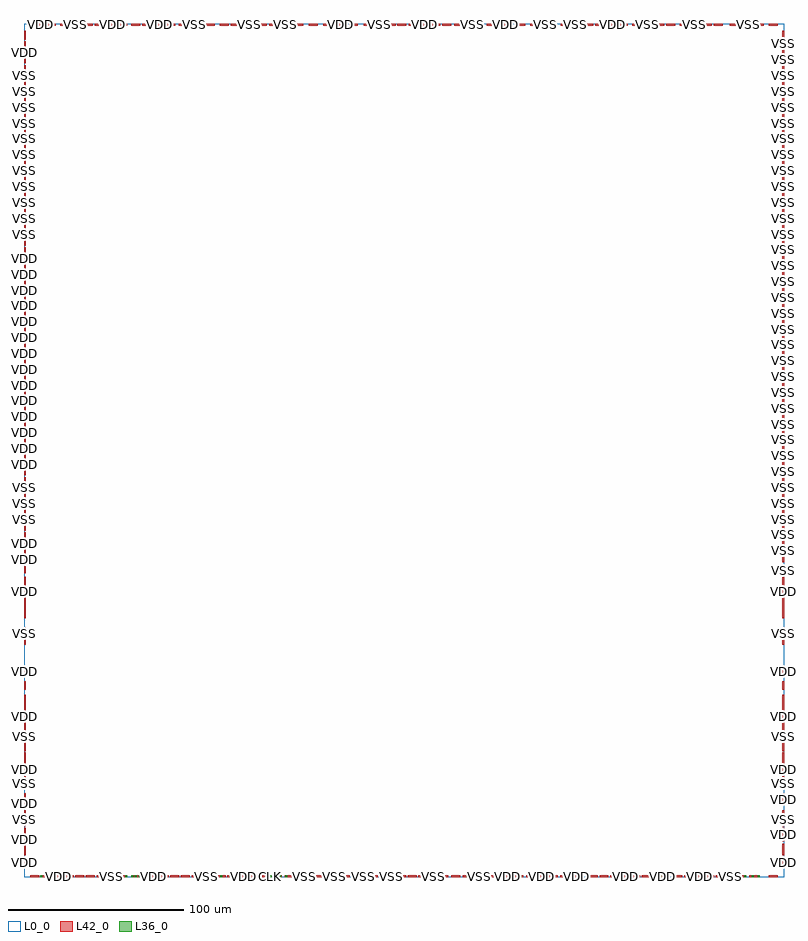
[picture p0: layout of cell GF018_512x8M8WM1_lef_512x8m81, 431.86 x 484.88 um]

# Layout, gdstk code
import gdstk
lib = gdstk.Library(unit=1e-6, precision=1e-09)
def R(c, l, rs):  # rectangles x0, y0, x1, y1
    for r in rs: c.add(gdstk.rectangle(r[:2], r[2:], *l))
def A(c, l, x, y, w, h, nx, ny, dx, dy):  # array of equal rectangles
    R(c, l, [(x+i*dx, y+j*dy, x+i*dx+w, y+j*dy+h) for i in range(nx) for j in range(ny)])
L0_0 = (0, 0)
L36_0 = (36, 0)
L42_0 = (42, 0)

gf018_512x8m8wm1_lef_512 = lib.new_cell('GF018_512x8M8WM1_lef_512x8m81')
R(gf018_512x8m8wm1_lef_512, L0_0, [(0,0,431.86,484.88)])
A(gf018_512x8m8wm1_lef_512, L42_0, 17.21, 0, 5, 1, 7, 1, 6, 0)
A(gf018_512x8m8wm1_lef_512, L42_0, 71.21, 0, 5, 1, 6, 1, 6, 0)
A(gf018_512x8m8wm1_lef_512, L42_0, 115.55, 0, 5, 1, 6, 1, 6.5, 0)
A(gf018_512x8m8wm1_lef_512, L42_0, 206.165, 0, 5, 1, 6, 1, 6, 0)
A(gf018_512x8m8wm1_lef_512, L42_0, 272.29, 0, 5, 1, 6, 1, 6.5, 0)
A(gf018_512x8m8wm1_lef_512, L42_0, 321.09, 0, 5, 1, 6, 1, 6, 0)
A(gf018_512x8m8wm1_lef_512, L42_0, 369.09, 0, 5, 1, 7, 1, 6, 0)
A(gf018_512x8m8wm1_lef_512, L42_0, 0, 178.88, 1, 3.5, 1, 66, 0, 4.5)
A(gf018_512x8m8wm1_lef_512, L42_0, 430.86, 178.88, 1, 3.5, 1, 66, 0, 4.5)
R(gf018_512x8m8wm1_lef_512, L42_0, [(3.53,0,8.53,1), (10.195,0,15.195,1), (62.215,0,67.215,1), (109.55,0,114.55,1), (156.62,0,161.62,1), (165.11,0,170.11,1), (174.155,0,179.155,1), (180.155,0,185.155,1), (190.14,0,195.14,1), (196.14,0,201.14,1), (242.83,0,247.83,1), (249.38,0,254.38,1), (256.165,0,261.165,1), (262.39,0,267.39,1), (311.475,0,316.475,1), (360.085,0,365.085,1), (412.095,0,417.095,1), (423.33,0,428.33,1), (0,6.16,1,11.16), (430.86,6.16,431.86,11.16), (0,12.51,1,18.86), (430.86,12.51,431.86,18.86), (0,20.3,1,28.145), (430.86,20.3,431.86,28.145), (0,28.83,1,37.98), (430.86,28.83,431.86,37.98), (0,40.76,1,47.575), (430.86,40.76,431.86,47.575), (0,50.88,1,57.465), (430.86,50.88,431.86,57.465), (0,60.18,1,70.89), (430.86,60.18,431.86,70.89), (0,71.64,1,88.65), (430.86,71.64,431.86,88.65), (0,90.08,1,103.695), (430.86,90.08,431.86,103.695), (0,106.41,1,111.41), (430.86,106.41,431.86,111.41), (0,114.69,1,119.69), (430.86,114.69,431.86,119.69), (0,132.175,1,142.08), (430.86,132.175,431.86,142.08), (0,147.15,1,170.625), (430.86,147.15,431.86,170.625), (0,172.68,1,176.63), (430.86,172.68,431.86,176.63), (0,475.88,1,480.88), (430.86,475.88,431.86,480.88), (7.005,483.88,12.005,484.88), (13.13,483.88,18.13,484.88), (20.685,483.88,25.685,484.88), (26.81,483.88,31.81,484.88), (34.005,483.88,39.005,484.88), (40.13,483.88,45.13,484.88), (47.685,483.88,52.685,484.88), (53.81,483.88,58.81,484.88), (61.005,483.88,66.005,484.88), (67.13,483.88,72.13,484.88), (74.685,483.88,79.685,484.88), (80.81,483.88,85.81,484.88), (88.005,483.88,93.005,484.88), (94.13,483.88,99.13,484.88), (103.265,483.88,108.265,484.88), (111.29,483.88,116.29,484.88), (117.415,483.88,122.415,484.88), (125.79,483.88,130.79,484.88), (132.86,483.88,137.86,484.88), (139.385,483.88,144.385,484.88), (146.365,483.88,151.365,484.88), (153.55,483.88,158.55,484.88), (161.905,483.88,166.905,484.88), (170.12,483.88,175.12,484.88), (177.075,483.88,182.075,484.88), (184.74,483.88,189.74,484.88), (192.925,483.88,197.925,484.88), (199.41,483.88,204.41,484.88), (206.15,483.88,211.15,484.88), (212.15,483.88,217.15,484.88), (218.565,483.88,223.565,484.88), (225.345,483.88,230.345,484.88), (231.565,483.88,236.565,484.88), (237.69,483.88,242.69,484.88), (244.505,483.88,249.505,484.88), (252.325,483.88,257.325,484.88), (262.845,483.88,267.845,484.88), (271.31,483.88,276.31,484.88), (279.95,483.88,284.95,484.88), (287.735,483.88,292.735,484.88), (293.955,483.88,298.955,484.88), (304.885,483.88,309.885,484.88), (311.01,483.88,316.01,484.88), (318.565,483.88,323.565,484.88), (324.69,483.88,329.69,484.88), (331.885,483.88,336.885,484.88), (338.01,483.88,343.01,484.88), (345.565,483.88,350.565,484.88), (351.69,483.88,356.69,484.88), (358.885,483.88,363.885,484.88), (365.01,483.88,370.01,484.88), (372.565,483.88,377.565,484.88), (378.69,483.88,383.69,484.88), (385.885,483.88,390.885,484.88), (392.01,483.88,397.01,484.88), (401.145,483.88,406.145,484.88), (409.17,483.88,414.17,484.88), (415.295,483.88,420.295,484.88), (423.33,483.88,428.33,484.88)])
gf018_512x8m8wm1_lef_512.add(gdstk.FlexPath([(67.83,0),(67.83,1)], 1.12, ends="flush", simple_path=True, layer=36, datatype=0))  # L36_0
gf018_512x8m8wm1_lef_512.add(gdstk.FlexPath([(65.83,0),(65.83,1)], 1.12, ends="flush", simple_path=True, layer=36, datatype=0))  # L36_0
gf018_512x8m8wm1_lef_512.add(gdstk.FlexPath([(154.855,0),(154.855,1)], 1.12, ends="flush", simple_path=True, layer=36, datatype=0))  # L36_0
gf018_512x8m8wm1_lef_512.add(gdstk.FlexPath([(163.32,0),(163.32,1)], 1.12, ends="flush", simple_path=True, layer=36, datatype=0))  # L36_0
gf018_512x8m8wm1_lef_512.add(gdstk.FlexPath([(269.42,0),(269.42,1)], 1.12, ends="flush", simple_path=True, layer=36, datatype=0))  # L36_0
gf018_512x8m8wm1_lef_512.add(gdstk.FlexPath([(171.775,0),(171.775,1)], 1.12, ends="flush", simple_path=True, layer=36, datatype=0))  # L36_0
gf018_512x8m8wm1_lef_512.add(gdstk.FlexPath([(203.5,0),(203.5,1)], 1.12, ends="flush", simple_path=True, layer=36, datatype=0))  # L36_0
gf018_512x8m8wm1_lef_512.add(gdstk.FlexPath([(252.27,0),(252.27,1)], 1.12, ends="flush", simple_path=True, layer=36, datatype=0))  # L36_0
gf018_512x8m8wm1_lef_512.add(gdstk.FlexPath([(272.645,0),(272.645,1)], 1.12, ends="flush", simple_path=True, layer=36, datatype=0))  # L36_0
gf018_512x8m8wm1_lef_512.add(gdstk.FlexPath([(276.38,0),(276.38,1)], 1.12, ends="flush", simple_path=True, layer=36, datatype=0))  # L36_0
gf018_512x8m8wm1_lef_512.add(gdstk.FlexPath([(281.885,0),(281.885,1)], 1.12, ends="flush", simple_path=True, layer=36, datatype=0))  # L36_0
gf018_512x8m8wm1_lef_512.add(gdstk.FlexPath([(307.795,0),(307.795,1)], 1.12, ends="flush", simple_path=True, layer=36, datatype=0))  # L36_0
gf018_512x8m8wm1_lef_512.add(gdstk.FlexPath([(311.135,0),(311.135,1)], 1.12, ends="flush", simple_path=True, layer=36, datatype=0))  # L36_0
gf018_512x8m8wm1_lef_512.add(gdstk.FlexPath([(315.35,0),(315.35,1)], 1.12, ends="flush", simple_path=True, layer=36, datatype=0))  # L36_0
gf018_512x8m8wm1_lef_512.add(gdstk.FlexPath([(356.105,0),(356.105,1)], 1.12, ends="flush", simple_path=True, layer=36, datatype=0))  # L36_0
gf018_512x8m8wm1_lef_512.add(gdstk.FlexPath([(359.47,0),(359.47,1)], 1.12, ends="flush", simple_path=True, layer=36, datatype=0))  # L36_0
gf018_512x8m8wm1_lef_512.add(gdstk.FlexPath([(361.46,0),(361.46,1)], 1.12, ends="flush", simple_path=True, layer=36, datatype=0))  # L36_0
gf018_512x8m8wm1_lef_512.add(gdstk.FlexPath([(363.71,0),(363.71,1)], 1.12, ends="flush", simple_path=True, layer=36, datatype=0))  # L36_0
gf018_512x8m8wm1_lef_512.add(gdstk.FlexPath([(365.71,0),(365.71,1)], 1.12, ends="flush", simple_path=True, layer=36, datatype=0))  # L36_0
gf018_512x8m8wm1_lef_512.add(gdstk.FlexPath([(369.075,0),(369.075,1)], 1.12, ends="flush", simple_path=True, layer=36, datatype=0))  # L36_0
gf018_512x8m8wm1_lef_512.add(gdstk.FlexPath([(409.835,0),(409.835,1)], 1.12, ends="flush", simple_path=True, layer=36, datatype=0))  # L36_0
gf018_512x8m8wm1_lef_512.add(gdstk.FlexPath([(414.035,0),(414.035,1)], 1.12, ends="flush", simple_path=True, layer=36, datatype=0))  # L36_0
gf018_512x8m8wm1_lef_512.add(gdstk.FlexPath([(71.195,0),(71.195,1)], 1.12, ends="flush", simple_path=True, layer=36, datatype=0))  # L36_0
gf018_512x8m8wm1_lef_512.add(gdstk.FlexPath([(111.955,0),(111.955,1)], 1.12, ends="flush", simple_path=True, layer=36, datatype=0))  # L36_0
gf018_512x8m8wm1_lef_512.add(gdstk.FlexPath([(117.58,0),(117.58,1)], 1.12, ends="flush", simple_path=True, layer=36, datatype=0))  # L36_0
gf018_512x8m8wm1_lef_512.add(gdstk.FlexPath([(119.535,0),(119.535,1)], 1.12, ends="flush", simple_path=True, layer=36, datatype=0))  # L36_0
gf018_512x8m8wm1_lef_512.add(gdstk.FlexPath([(140.24,0),(140.24,1)], 1.12, ends="flush", simple_path=True, layer=36, datatype=0))  # L36_0
gf018_512x8m8wm1_lef_512.add(gdstk.FlexPath([(145.59,0),(145.59,1)], 1.12, ends="flush", simple_path=True, layer=36, datatype=0))  # L36_0
gf018_512x8m8wm1_lef_512.add(gdstk.FlexPath([(149.085,0),(149.085,1)], 1.12, ends="flush", simple_path=True, layer=36, datatype=0))  # L36_0
gf018_512x8m8wm1_lef_512.add(gdstk.FlexPath([(417.42,0),(417.42,1)], 1.12, ends="flush", simple_path=True, layer=36, datatype=0))  # L36_0
gf018_512x8m8wm1_lef_512.add(gdstk.FlexPath([(9.88,0),(9.88,1)], 1.12, ends="flush", simple_path=True, layer=36, datatype=0))  # L36_0
gf018_512x8m8wm1_lef_512.add(gdstk.FlexPath([(13.255,0),(13.255,1)], 1.12, ends="flush", simple_path=True, layer=36, datatype=0))  # L36_0
gf018_512x8m8wm1_lef_512.add(gdstk.FlexPath([(17.46,0),(17.46,1)], 1.12, ends="flush", simple_path=True, layer=36, datatype=0))  # L36_0
gf018_512x8m8wm1_lef_512.add(gdstk.FlexPath([(58.225,0),(58.225,1)], 1.12, ends="flush", simple_path=True, layer=36, datatype=0))  # L36_0
gf018_512x8m8wm1_lef_512.add(gdstk.FlexPath([(61.59,0),(61.59,1)], 1.12, ends="flush", simple_path=True, layer=36, datatype=0))  # L36_0
gf018_512x8m8wm1_lef_512.add(gdstk.FlexPath([(63.58,0),(63.58,1)], 1.12, ends="flush", simple_path=True, layer=36, datatype=0))  # L36_0
gf018_512x8m8wm1_lef_512.add(gdstk.Label('VSS', (431.4,473.45), layer=42, texttype=10))
gf018_512x8m8wm1_lef_512.add(gdstk.Label('VDD', (431.4,468.63), layer=42, texttype=10))
gf018_512x8m8wm1_lef_512.add(gdstk.Label('VSS', (431.4,464.45), layer=42, texttype=10))
gf018_512x8m8wm1_lef_512.add(gdstk.Label('VDD', (431.4,459.63), layer=42, texttype=10))
gf018_512x8m8wm1_lef_512.add(gdstk.Label('VSS', (431.4,455.45), layer=42, texttype=10))
gf018_512x8m8wm1_lef_512.add(gdstk.Label('VDD', (431.4,450.63), layer=42, texttype=10))
gf018_512x8m8wm1_lef_512.add(gdstk.Label('VSS', (431.4,446.45), layer=42, texttype=10))
gf018_512x8m8wm1_lef_512.add(gdstk.Label('VDD', (431.4,441.63), layer=42, texttype=10))
gf018_512x8m8wm1_lef_512.add(gdstk.Label('VSS', (431.4,437.45), layer=42, texttype=10))
gf018_512x8m8wm1_lef_512.add(gdstk.Label('VDD', (431.4,432.63), layer=42, texttype=10))
gf018_512x8m8wm1_lef_512.add(gdstk.Label('VSS', (431.4,428.45), layer=42, texttype=10))
gf018_512x8m8wm1_lef_512.add(gdstk.Label('VDD', (431.4,423.63), layer=42, texttype=10))
gf018_512x8m8wm1_lef_512.add(gdstk.Label('VSS', (431.4,419.45), layer=42, texttype=10))
gf018_512x8m8wm1_lef_512.add(gdstk.Label('VDD', (431.4,414.63), layer=42, texttype=10))
gf018_512x8m8wm1_lef_512.add(gdstk.Label('VSS', (431.4,410.45), layer=42, texttype=10))
gf018_512x8m8wm1_lef_512.add(gdstk.Label('VDD', (431.4,405.63), layer=42, texttype=10))
gf018_512x8m8wm1_lef_512.add(gdstk.Label('VSS', (431.4,401.45), layer=42, texttype=10))
gf018_512x8m8wm1_lef_512.add(gdstk.Label('VDD', (431.4,396.63), layer=42, texttype=10))
gf018_512x8m8wm1_lef_512.add(gdstk.Label('VSS', (354.19,484.415), layer=42, texttype=10))
gf018_512x8m8wm1_lef_512.add(gdstk.Label('VSS', (431.4,392.45), layer=42, texttype=10))
gf018_512x8m8wm1_lef_512.add(gdstk.Label('VDD', (431.4,387.63), layer=42, texttype=10))
gf018_512x8m8wm1_lef_512.add(gdstk.Label('VSS', (431.4,383.45), layer=42, texttype=10))
gf018_512x8m8wm1_lef_512.add(gdstk.Label('VDD', (431.4,378.63), layer=42, texttype=10))
gf018_512x8m8wm1_lef_512.add(gdstk.Label('VSS', (431.4,374.45), layer=42, texttype=10))
gf018_512x8m8wm1_lef_512.add(gdstk.Label('VDD', (431.4,369.63), layer=42, texttype=10))
gf018_512x8m8wm1_lef_512.add(gdstk.Label('VSS', (313.51,484.415), layer=42, texttype=10))
gf018_512x8m8wm1_lef_512.add(gdstk.Label('VSS', (411.67,484.415), layer=42, texttype=10))
gf018_512x8m8wm1_lef_512.add(gdstk.Label('VSS', (431.4,365.45), layer=42, texttype=10))
gf018_512x8m8wm1_lef_512.add(gdstk.Label('VDD', (431.4,360.63), layer=42, texttype=10))
gf018_512x8m8wm1_lef_512.add(gdstk.Label('VSS', (381.19,484.415), layer=42, texttype=10))
gf018_512x8m8wm1_lef_512.add(gdstk.Label('VSS', (296.455,484.415), layer=42, texttype=10))
gf018_512x8m8wm1_lef_512.add(gdstk.Label('VDD', (227.845,484.415), layer=42, texttype=10))
gf018_512x8m8wm1_lef_512.add(gdstk.Label('VDD', (234.065,484.415), layer=42, texttype=10))
gf018_512x8m8wm1_lef_512.add(gdstk.Label('VSS', (221.065,484.415), layer=42, texttype=10))
gf018_512x8m8wm1_lef_512.add(gdstk.Label('VSS', (254.825,484.415), layer=42, texttype=10))
gf018_512x8m8wm1_lef_512.add(gdstk.Label('VDD', (417.795,484.415), layer=42, texttype=10))
gf018_512x8m8wm1_lef_512.add(gdstk.Label('VDD', (388.385,484.415), layer=42, texttype=10))
gf018_512x8m8wm1_lef_512.add(gdstk.Label('VDD', (348.065,484.415), layer=42, texttype=10))
gf018_512x8m8wm1_lef_512.add(gdstk.Label('VDD', (307.385,484.415), layer=42, texttype=10))
gf018_512x8m8wm1_lef_512.add(gdstk.Label('VDD', (403.645,484.415), layer=42, texttype=10))
gf018_512x8m8wm1_lef_512.add(gdstk.Label('VSS', (431.4,356.45), layer=42, texttype=10))
gf018_512x8m8wm1_lef_512.add(gdstk.Label('VDD', (290.235,484.415), layer=42, texttype=10))
gf018_512x8m8wm1_lef_512.add(gdstk.Label('VSS', (240.19,484.415), layer=42, texttype=10))
gf018_512x8m8wm1_lef_512.add(gdstk.Label('VDD', (265.345,484.415), layer=42, texttype=10))
gf018_512x8m8wm1_lef_512.add(gdstk.Label('VDD', (431.4,351.63), layer=42, texttype=10))
gf018_512x8m8wm1_lef_512.add(gdstk.Label('VSS', (431.4,347.45), layer=42, texttype=10))
gf018_512x8m8wm1_lef_512.add(gdstk.Label('VDD', (431.4,342.63), layer=42, texttype=10))
gf018_512x8m8wm1_lef_512.add(gdstk.Label('VSS', (431.4,338.45), layer=42, texttype=10))
gf018_512x8m8wm1_lef_512.add(gdstk.Label('VDD', (431.4,333.63), layer=42, texttype=10))
gf018_512x8m8wm1_lef_512.add(gdstk.Label('VSS', (431.4,329.45), layer=42, texttype=10))
gf018_512x8m8wm1_lef_512.add(gdstk.Label('VSS', (282.45,484.415), layer=42, texttype=10))
gf018_512x8m8wm1_lef_512.add(gdstk.Label('VDD', (431.4,478.38), layer=42, texttype=10))
gf018_512x8m8wm1_lef_512.add(gdstk.Label('VDD', (273.81,484.415), layer=42, texttype=10))
gf018_512x8m8wm1_lef_512.add(gdstk.Label('VDD', (247.005,484.415), layer=42, texttype=10))
gf018_512x8m8wm1_lef_512.add(gdstk.Label('VDD', (375.065,484.415), layer=42, texttype=10))
gf018_512x8m8wm1_lef_512.add(gdstk.Label('VDD', (431.4,324.63), layer=42, texttype=10))
gf018_512x8m8wm1_lef_512.add(gdstk.Label('VDD', (321.065,484.415), layer=42, texttype=10))
gf018_512x8m8wm1_lef_512.add(gdstk.Label('VDD', (361.385,484.415), layer=42, texttype=10))
gf018_512x8m8wm1_lef_512.add(gdstk.Label('VDD', (425.83,484.415), layer=42, texttype=10))
gf018_512x8m8wm1_lef_512.add(gdstk.Label('VSS', (340.51,484.415), layer=42, texttype=10))
gf018_512x8m8wm1_lef_512.add(gdstk.Label('VSS', (367.51,484.415), layer=42, texttype=10))
gf018_512x8m8wm1_lef_512.add(gdstk.Label('VSS', (327.19,484.415), layer=42, texttype=10))
gf018_512x8m8wm1_lef_512.add(gdstk.Label('VSS', (394.51,484.415), layer=42, texttype=10))
gf018_512x8m8wm1_lef_512.add(gdstk.Label('VSS', (431.4,320.45), layer=42, texttype=10))
gf018_512x8m8wm1_lef_512.add(gdstk.Label('VDD', (431.4,315.63), layer=42, texttype=10))
gf018_512x8m8wm1_lef_512.add(gdstk.Label('VSS', (431.4,311.45), layer=42, texttype=10))
gf018_512x8m8wm1_lef_512.add(gdstk.Label('VDD', (431.4,306.63), layer=42, texttype=10))
gf018_512x8m8wm1_lef_512.add(gdstk.Label('VSS', (431.4,302.45), layer=42, texttype=10))
gf018_512x8m8wm1_lef_512.add(gdstk.Label('VDD', (431.4,297.63), layer=42, texttype=10))
gf018_512x8m8wm1_lef_512.add(gdstk.Label('VSS', (431.4,293.45), layer=42, texttype=10))
gf018_512x8m8wm1_lef_512.add(gdstk.Label('VDD', (431.4,288.63), layer=42, texttype=10))
gf018_512x8m8wm1_lef_512.add(gdstk.Label('VSS', (431.4,284.45), layer=42, texttype=10))
gf018_512x8m8wm1_lef_512.add(gdstk.Label('VDD', (431.4,279.63), layer=42, texttype=10))
gf018_512x8m8wm1_lef_512.add(gdstk.Label('VSS', (431.4,275.45), layer=42, texttype=10))
gf018_512x8m8wm1_lef_512.add(gdstk.Label('VDD', (431.4,270.63), layer=42, texttype=10))
gf018_512x8m8wm1_lef_512.add(gdstk.Label('VSS', (431.4,266.45), layer=42, texttype=10))
gf018_512x8m8wm1_lef_512.add(gdstk.Label('VDD', (431.4,261.63), layer=42, texttype=10))
gf018_512x8m8wm1_lef_512.add(gdstk.Label('VSS', (431.4,257.45), layer=42, texttype=10))
gf018_512x8m8wm1_lef_512.add(gdstk.Label('VDD', (431.4,252.63), layer=42, texttype=10))
gf018_512x8m8wm1_lef_512.add(gdstk.Label('VSS', (431.4,248.45), layer=42, texttype=10))
gf018_512x8m8wm1_lef_512.add(gdstk.Label('VDD', (431.4,243.63), layer=42, texttype=10))
gf018_512x8m8wm1_lef_512.add(gdstk.Label('VDD', (334.385,484.415), layer=42, texttype=10))
gf018_512x8m8wm1_lef_512.add(gdstk.Label('VDD', (179.575,484.415), layer=42, texttype=10))
gf018_512x8m8wm1_lef_512.add(gdstk.Label('VSS', (128.29,484.415), layer=42, texttype=10))
gf018_512x8m8wm1_lef_512.add(gdstk.Label('VSS', (0.5,383.45), layer=42, texttype=10))
gf018_512x8m8wm1_lef_512.add(gdstk.Label('VDD', (119.915,484.415), layer=42, texttype=10))
gf018_512x8m8wm1_lef_512.add(gdstk.Label('VSS', (201.91,484.415), layer=42, texttype=10))
gf018_512x8m8wm1_lef_512.add(gdstk.Label('VSS', (187.24,484.415), layer=42, texttype=10))
gf018_512x8m8wm1_lef_512.add(gdstk.Label('VDD', (50.185,484.415), layer=42, texttype=10))
gf018_512x8m8wm1_lef_512.add(gdstk.Label('VSS', (113.79,484.415), layer=42, texttype=10))
gf018_512x8m8wm1_lef_512.add(gdstk.Label('VDD', (9.505,484.415), layer=42, texttype=10))
gf018_512x8m8wm1_lef_512.add(gdstk.Label('VDD', (0.5,351.63), layer=42, texttype=10))
gf018_512x8m8wm1_lef_512.add(gdstk.Label('VDD', (77.185,484.415), layer=42, texttype=10))
gf018_512x8m8wm1_lef_512.add(gdstk.Label('VSS', (0.5,347.45), layer=42, texttype=10))
gf018_512x8m8wm1_lef_512.add(gdstk.Label('VDD', (0.5,378.63), layer=42, texttype=10))
gf018_512x8m8wm1_lef_512.add(gdstk.Label('VDD', (0.5,342.63), layer=42, texttype=10))
gf018_512x8m8wm1_lef_512.add(gdstk.Label('VSS', (0.5,428.45), layer=42, texttype=10))
gf018_512x8m8wm1_lef_512.add(gdstk.Label('VSS', (0.5,338.45), layer=42, texttype=10))
gf018_512x8m8wm1_lef_512.add(gdstk.Label('VSS', (0.5,374.45), layer=42, texttype=10))
gf018_512x8m8wm1_lef_512.add(gdstk.Label('VDD', (0.5,333.63), layer=42, texttype=10))
gf018_512x8m8wm1_lef_512.add(gdstk.Label('VSS', (0.5,455.45), layer=42, texttype=10))
gf018_512x8m8wm1_lef_512.add(gdstk.Label('VSS', (29.31,484.415), layer=42, texttype=10))
gf018_512x8m8wm1_lef_512.add(gdstk.Label('VSS', (83.31,484.415), layer=42, texttype=10))
gf018_512x8m8wm1_lef_512.add(gdstk.Label('VSS', (148.865,484.415), layer=42, texttype=10))
gf018_512x8m8wm1_lef_512.add(gdstk.Label('VDD', (0.5,369.63), layer=42, texttype=10))
gf018_512x8m8wm1_lef_512.add(gdstk.Label('VDD', (0.5,423.63), layer=42, texttype=10))
gf018_512x8m8wm1_lef_512.add(gdstk.Label('VSS', (0.5,329.45), layer=42, texttype=10))
gf018_512x8m8wm1_lef_512.add(gdstk.Label('VSS', (15.63,484.415), layer=42, texttype=10))
gf018_512x8m8wm1_lef_512.add(gdstk.Label('VSS', (69.63,484.415), layer=42, texttype=10))
gf018_512x8m8wm1_lef_512.add(gdstk.Label('VDD', (0.5,468.63), layer=42, texttype=10))
gf018_512x8m8wm1_lef_512.add(gdstk.Label('VSS', (0.5,419.45), layer=42, texttype=10))
gf018_512x8m8wm1_lef_512.add(gdstk.Label('VSS', (214.65,484.415), layer=42, texttype=10))
gf018_512x8m8wm1_lef_512.add(gdstk.Label('VSS', (172.62,484.415), layer=42, texttype=10))
gf018_512x8m8wm1_lef_512.add(gdstk.Label('VSS', (0.5,365.45), layer=42, texttype=10))
gf018_512x8m8wm1_lef_512.add(gdstk.Label('VDD', (0.5,450.63), layer=42, texttype=10))
gf018_512x8m8wm1_lef_512.add(gdstk.Label('VDD', (0.5,360.63), layer=42, texttype=10))
gf018_512x8m8wm1_lef_512.add(gdstk.Label('VDD', (0.5,414.63), layer=42, texttype=10))
gf018_512x8m8wm1_lef_512.add(gdstk.Label('VDD', (23.185,484.415), layer=42, texttype=10))
gf018_512x8m8wm1_lef_512.add(gdstk.Label('VDD', (0.5,324.63), layer=42, texttype=10))
gf018_512x8m8wm1_lef_512.add(gdstk.Label('VSS', (42.63,484.415), layer=42, texttype=10))
gf018_512x8m8wm1_lef_512.add(gdstk.Label('VDD', (63.505,484.415), layer=42, texttype=10))
gf018_512x8m8wm1_lef_512.add(gdstk.Label('VSS', (96.63,484.415), layer=42, texttype=10))
gf018_512x8m8wm1_lef_512.add(gdstk.Label('VSS', (141.885,484.415), layer=42, texttype=10))
gf018_512x8m8wm1_lef_512.add(gdstk.Label('VSS', (0.5,410.45), layer=42, texttype=10))
gf018_512x8m8wm1_lef_512.add(gdstk.Label('VSS', (0.5,320.45), layer=42, texttype=10))
gf018_512x8m8wm1_lef_512.add(gdstk.Label('VSS', (56.31,484.415), layer=42, texttype=10))
gf018_512x8m8wm1_lef_512.add(gdstk.Label('VDD', (0.5,315.63), layer=42, texttype=10))
gf018_512x8m8wm1_lef_512.add(gdstk.Label('VDD', (195.425,484.415), layer=42, texttype=10))
gf018_512x8m8wm1_lef_512.add(gdstk.Label('VSS', (0.5,311.45), layer=42, texttype=10))
gf018_512x8m8wm1_lef_512.add(gdstk.Label('VSS', (0.5,446.45), layer=42, texttype=10))
gf018_512x8m8wm1_lef_512.add(gdstk.Label('VDD', (0.5,306.63), layer=42, texttype=10))
gf018_512x8m8wm1_lef_512.add(gdstk.Label('VDD', (156.05,484.415), layer=42, texttype=10))
gf018_512x8m8wm1_lef_512.add(gdstk.Label('VSS', (0.5,302.45), layer=42, texttype=10))
gf018_512x8m8wm1_lef_512.add(gdstk.Label('VDD', (0.5,405.63), layer=42, texttype=10))
gf018_512x8m8wm1_lef_512.add(gdstk.Label('VDD', (0.5,297.63), layer=42, texttype=10))
gf018_512x8m8wm1_lef_512.add(gdstk.Label('VSS', (164.405,484.415), layer=42, texttype=10))
gf018_512x8m8wm1_lef_512.add(gdstk.Label('VSS', (0.5,293.45), layer=42, texttype=10))
gf018_512x8m8wm1_lef_512.add(gdstk.Label('VSS', (0.5,464.45), layer=42, texttype=10))
gf018_512x8m8wm1_lef_512.add(gdstk.Label('VDD', (0.5,288.63), layer=42, texttype=10))
gf018_512x8m8wm1_lef_512.add(gdstk.Label('VSS', (0.5,401.45), layer=42, texttype=10))
gf018_512x8m8wm1_lef_512.add(gdstk.Label('VSS', (0.5,284.45), layer=42, texttype=10))
gf018_512x8m8wm1_lef_512.add(gdstk.Label('VDD', (0.5,441.63), layer=42, texttype=10))
gf018_512x8m8wm1_lef_512.add(gdstk.Label('VDD', (0.5,279.63), layer=42, texttype=10))
gf018_512x8m8wm1_lef_512.add(gdstk.Label('VDD', (0.5,396.63), layer=42, texttype=10))
gf018_512x8m8wm1_lef_512.add(gdstk.Label('VSS', (0.5,275.45), layer=42, texttype=10))
gf018_512x8m8wm1_lef_512.add(gdstk.Label('VSS', (0.5,473.45), layer=42, texttype=10))
gf018_512x8m8wm1_lef_512.add(gdstk.Label('VDD', (0.5,270.63), layer=42, texttype=10))
gf018_512x8m8wm1_lef_512.add(gdstk.Label('VSS', (0.5,437.45), layer=42, texttype=10))
gf018_512x8m8wm1_lef_512.add(gdstk.Label('VSS', (0.5,266.45), layer=42, texttype=10))
gf018_512x8m8wm1_lef_512.add(gdstk.Label('VSS', (0.5,392.45), layer=42, texttype=10))
gf018_512x8m8wm1_lef_512.add(gdstk.Label('VDD', (0.5,261.63), layer=42, texttype=10))
gf018_512x8m8wm1_lef_512.add(gdstk.Label('VDD', (0.5,459.63), layer=42, texttype=10))
gf018_512x8m8wm1_lef_512.add(gdstk.Label('VSS', (0.5,257.45), layer=42, texttype=10))
gf018_512x8m8wm1_lef_512.add(gdstk.Label('VSS', (0.5,356.45), layer=42, texttype=10))
gf018_512x8m8wm1_lef_512.add(gdstk.Label('VDD', (0.5,252.63), layer=42, texttype=10))
gf018_512x8m8wm1_lef_512.add(gdstk.Label('VDD', (0.5,387.63), layer=42, texttype=10))
gf018_512x8m8wm1_lef_512.add(gdstk.Label('VSS', (0.5,248.45), layer=42, texttype=10))
gf018_512x8m8wm1_lef_512.add(gdstk.Label('VDD', (0.5,432.63), layer=42, texttype=10))
gf018_512x8m8wm1_lef_512.add(gdstk.Label('VDD', (0.5,243.63), layer=42, texttype=10))
gf018_512x8m8wm1_lef_512.add(gdstk.Label('VDD', (0.5,478.38), layer=42, texttype=10))
gf018_512x8m8wm1_lef_512.add(gdstk.Label('VDD', (90.505,484.415), layer=42, texttype=10))
gf018_512x8m8wm1_lef_512.add(gdstk.Label('VDD', (105.765,484.415), layer=42, texttype=10))
gf018_512x8m8wm1_lef_512.add(gdstk.Label('VDD', (135.36,484.415), layer=42, texttype=10))
gf018_512x8m8wm1_lef_512.add(gdstk.Label('VDD', (36.505,484.415), layer=42, texttype=10))
gf018_512x8m8wm1_lef_512.add(gdstk.Label('VDD', (208.65,484.415), layer=42, texttype=10))
gf018_512x8m8wm1_lef_512.add(gdstk.Label('VDD', (19.71,0.5), layer=42, texttype=10))
gf018_512x8m8wm1_lef_512.add(gdstk.Label('VSS', (0.5,80.175), layer=42, texttype=10))
gf018_512x8m8wm1_lef_512.add(gdstk.Label('VDD', (0.5,41.775), layer=42, texttype=10))
gf018_512x8m8wm1_lef_512.add(gdstk.Label('VSS', (0.5,32.985), layer=42, texttype=10))
gf018_512x8m8wm1_lef_512.add(gdstk.Label('VSS', (0.5,239.45), layer=42, texttype=10))
gf018_512x8m8wm1_lef_512.add(gdstk.Label('VDD', (0.5,189.63), layer=42, texttype=10))
gf018_512x8m8wm1_lef_512.add(gdstk.Label('VSS', (0.5,185.45), layer=42, texttype=10))
gf018_512x8m8wm1_lef_512.add(gdstk.Label('VDD', (0.5,180.63), layer=42, texttype=10))
gf018_512x8m8wm1_lef_512.add(gdstk.Label('VSS', (0.5,174.47), layer=42, texttype=10))
gf018_512x8m8wm1_lef_512.add(gdstk.Label('VDD', (0.5,162.595), layer=42, texttype=10))
gf018_512x8m8wm1_lef_512.add(gdstk.Label('VSS', (0.5,138.295), layer=42, texttype=10))
gf018_512x8m8wm1_lef_512.add(gdstk.Label('VDD', (0.5,117.12), layer=42, texttype=10))
gf018_512x8m8wm1_lef_512.add(gdstk.Label('VSS', (0.5,110.19), layer=42, texttype=10))
gf018_512x8m8wm1_lef_512.add(gdstk.Label('VDD', (0.5,91.095), layer=42, texttype=10))
gf018_512x8m8wm1_lef_512.add(gdstk.Label('VDD', (0.5,21.315), layer=42, texttype=10))
gf018_512x8m8wm1_lef_512.add(gdstk.Label('VSS', (0.5,221.45), layer=42, texttype=10))
gf018_512x8m8wm1_lef_512.add(gdstk.Label('VDD', (0.5,216.63), layer=42, texttype=10))
gf018_512x8m8wm1_lef_512.add(gdstk.Label('VSS', (0.5,212.45), layer=42, texttype=10))
gf018_512x8m8wm1_lef_512.add(gdstk.Label('VDD', (0.5,207.63), layer=42, texttype=10))
gf018_512x8m8wm1_lef_512.add(gdstk.Label('VSS', (0.5,203.45), layer=42, texttype=10))
gf018_512x8m8wm1_lef_512.add(gdstk.Label('VDD', (0.5,198.63), layer=42, texttype=10))
gf018_512x8m8wm1_lef_512.add(gdstk.Label('VSS', (0.5,194.45), layer=42, texttype=10))
gf018_512x8m8wm1_lef_512.add(gdstk.Label('VSS', (159.115,0.5), layer=42, texttype=10))
gf018_512x8m8wm1_lef_512.add(gdstk.Label('VSS', (167.605,0.5), layer=42, texttype=10))
gf018_512x8m8wm1_lef_512.add(gdstk.Label('VSS', (176.66,0.5), layer=42, texttype=10))
gf018_512x8m8wm1_lef_512.add(gdstk.Label('VSS', (192.645,0.5), layer=42, texttype=10))
gf018_512x8m8wm1_lef_512.add(gdstk.Label('VSS', (208.665,0.5), layer=42, texttype=10))
gf018_512x8m8wm1_lef_512.add(gdstk.Label('VDD', (0.5,234.63), layer=42, texttype=10))
gf018_512x8m8wm1_lef_512.add(gdstk.Label('VSS', (0.5,230.45), layer=42, texttype=10))
gf018_512x8m8wm1_lef_512.add(gdstk.Label('VDD', (0.5,225.63), layer=42, texttype=10))
gf018_512x8m8wm1_lef_512.add(gdstk.Label('VSS', (0.5,53.14), layer=42, texttype=10))
gf018_512x8m8wm1_lef_512.add(gdstk.Label('VSS', (0.5,15.815), layer=42, texttype=10))
gf018_512x8m8wm1_lef_512.add(gdstk.Label('VDD', (0.5,8.445), layer=42, texttype=10))
gf018_512x8m8wm1_lef_512.add(gdstk.Label('VDD', (0.5,61.195), layer=42, texttype=10))
gf018_512x8m8wm1_lef_512.add(gdstk.Label('VDD', (6.03,0.5), layer=42, texttype=10))
gf018_512x8m8wm1_lef_512.add(gdstk.Label('VSS', (49.705,0.5), layer=42, texttype=10))
gf018_512x8m8wm1_lef_512.add(gdstk.Label('VSS', (103.705,0.5), layer=42, texttype=10))
gf018_512x8m8wm1_lef_512.add(gdstk.Label('VDD', (144.05,0.5), layer=42, texttype=10))
gf018_512x8m8wm1_lef_512.add(gdstk.Label('VDD', (112.05,0.5), layer=42, texttype=10))
gf018_512x8m8wm1_lef_512.add(gdstk.Label('VDD', (118.05,0.5), layer=42, texttype=10))
gf018_512x8m8wm1_lef_512.add(gdstk.Label('VDD', (124.55,0.5), layer=42, texttype=10))
gf018_512x8m8wm1_lef_512.add(gdstk.Label('VDD', (131.05,0.5), layer=42, texttype=10))
gf018_512x8m8wm1_lef_512.add(gdstk.Label('VDD', (137.55,0.5), layer=42, texttype=10))
gf018_512x8m8wm1_lef_512.add(gdstk.Label('VDD', (12.695,0.5), layer=42, texttype=10))
gf018_512x8m8wm1_lef_512.add(gdstk.Label('VDD', (182.655,0.5), layer=42, texttype=10))
gf018_512x8m8wm1_lef_512.add(gdstk.Label('VDD', (198.64,0.5), layer=42, texttype=10))
gf018_512x8m8wm1_lef_512.add(gdstk.Label('VDD', (214.665,0.5), layer=42, texttype=10))
gf018_512x8m8wm1_lef_512.add(gdstk.Label('VDD', (31.71,0.5), layer=42, texttype=10))
gf018_512x8m8wm1_lef_512.add(gdstk.Label('VDD', (37.71,0.5), layer=42, texttype=10))
gf018_512x8m8wm1_lef_512.add(gdstk.Label('VDD', (43.71,0.5), layer=42, texttype=10))
gf018_512x8m8wm1_lef_512.add(gdstk.Label('VDD', (55.71,0.5), layer=42, texttype=10))
gf018_512x8m8wm1_lef_512.add(gdstk.Label('VDD', (64.715,0.5), layer=42, texttype=10))
gf018_512x8m8wm1_lef_512.add(gdstk.Label('VDD', (73.71,0.5), layer=42, texttype=10))
gf018_512x8m8wm1_lef_512.add(gdstk.Label('VDD', (85.71,0.5), layer=42, texttype=10))
gf018_512x8m8wm1_lef_512.add(gdstk.Label('VDD', (91.71,0.5), layer=42, texttype=10))
gf018_512x8m8wm1_lef_512.add(gdstk.Label('VDD', (97.71,0.5), layer=42, texttype=10))
gf018_512x8m8wm1_lef_512.add(gdstk.Label('VSS', (25.715,0.5), layer=42, texttype=10))
gf018_512x8m8wm1_lef_512.add(gdstk.Label('VDD', (150.55,0.5), layer=42, texttype=10))
gf018_512x8m8wm1_lef_512.add(gdstk.Label('VSS', (79.715,0.5), layer=42, texttype=10))
gf018_512x8m8wm1_lef_512.add(gdstk.Label('VSS', (401.59,0.5), layer=42, texttype=10))
gf018_512x8m8wm1_lef_512.add(gdstk.Label('VSS', (258.665,0.5), layer=42, texttype=10))
gf018_512x8m8wm1_lef_512.add(gdstk.Label('VDD', (294.29,0.5), layer=42, texttype=10))
gf018_512x8m8wm1_lef_512.add(gdstk.Label('VDD', (281.29,0.5), layer=42, texttype=10))
gf018_512x8m8wm1_lef_512.add(gdstk.Label('VDD', (287.79,0.5), layer=42, texttype=10))
gf018_512x8m8wm1_lef_512.add(gdstk.Label('VSS', (431.4,203.45), layer=42, texttype=10))
gf018_512x8m8wm1_lef_512.add(gdstk.Label('VSS', (431.4,221.45), layer=42, texttype=10))
gf018_512x8m8wm1_lef_512.add(gdstk.Label('VSS', (431.4,80.175), layer=42, texttype=10))
gf018_512x8m8wm1_lef_512.add(gdstk.Label('VDD', (383.59,0.5), layer=42, texttype=10))
gf018_512x8m8wm1_lef_512.add(gdstk.Label('VDD', (431.4,61.195), layer=42, texttype=10))
gf018_512x8m8wm1_lef_512.add(gdstk.Label('VSS', (220.665,0.5), layer=42, texttype=10))
gf018_512x8m8wm1_lef_512.add(gdstk.Label('VDD', (341.59,0.5), layer=42, texttype=10))
gf018_512x8m8wm1_lef_512.add(gdstk.Label('VDD', (353.59,0.5), layer=42, texttype=10))
gf018_512x8m8wm1_lef_512.add(gdstk.Label('VDD', (362.585,0.5), layer=42, texttype=10))
gf018_512x8m8wm1_lef_512.add(gdstk.Label('VDD', (371.59,0.5), layer=42, texttype=10))
gf018_512x8m8wm1_lef_512.add(gdstk.Label('VSS', (431.4,194.45), layer=42, texttype=10))
gf018_512x8m8wm1_lef_512.add(gdstk.Label('VSS', (431.4,230.45), layer=42, texttype=10))
gf018_512x8m8wm1_lef_512.add(gdstk.Label('VSS', (431.4,32.985), layer=42, texttype=10))
gf018_512x8m8wm1_lef_512.add(gdstk.Label('VDD', (431.4,225.63), layer=42, texttype=10))
gf018_512x8m8wm1_lef_512.add(gdstk.Label('VSS', (431.4,239.45), layer=42, texttype=10))
gf018_512x8m8wm1_lef_512.add(gdstk.Label('VSS', (431.4,174.47), layer=42, texttype=10))
gf018_512x8m8wm1_lef_512.add(gdstk.Label('VDD', (431.4,234.63), layer=42, texttype=10))
gf018_512x8m8wm1_lef_512.add(gdstk.Label('VDD', (300.79,0.5), layer=42, texttype=10))
gf018_512x8m8wm1_lef_512.add(gdstk.Label('VSS', (431.4,185.45), layer=42, texttype=10))
gf018_512x8m8wm1_lef_512.add(gdstk.Label('VDD', (431.4,24.22), layer=42, texttype=10))
gf018_512x8m8wm1_lef_512.add(gdstk.Label('VSS', (431.4,53.14), layer=42, texttype=10))
gf018_512x8m8wm1_lef_512.add(gdstk.Label('VDD', (431.4,198.63), layer=42, texttype=10))
gf018_512x8m8wm1_lef_512.add(gdstk.Label('VDD', (431.4,117.12), layer=42, texttype=10))
gf018_512x8m8wm1_lef_512.add(gdstk.Label('VDD', (431.4,162.595), layer=42, texttype=10))
gf018_512x8m8wm1_lef_512.add(gdstk.Label('VDD', (431.4,189.63), layer=42, texttype=10))
gf018_512x8m8wm1_lef_512.add(gdstk.Label('VDD', (431.4,180.63), layer=42, texttype=10))
gf018_512x8m8wm1_lef_512.add(gdstk.Label('VDD', (431.4,8.445), layer=42, texttype=10))
gf018_512x8m8wm1_lef_512.add(gdstk.Label('VSS', (431.4,138.295), layer=42, texttype=10))
gf018_512x8m8wm1_lef_512.add(gdstk.Label('VDD', (313.975,0.5), layer=42, texttype=10))
gf018_512x8m8wm1_lef_512.add(gdstk.Label('VSS', (431.4,212.45), layer=42, texttype=10))
gf018_512x8m8wm1_lef_512.add(gdstk.Label('VDD', (431.4,43.985), layer=42, texttype=10))
gf018_512x8m8wm1_lef_512.add(gdstk.Label('VDD', (431.4,207.63), layer=42, texttype=10))
gf018_512x8m8wm1_lef_512.add(gdstk.Label('VDD', (431.4,91.095), layer=42, texttype=10))
gf018_512x8m8wm1_lef_512.add(gdstk.Label('VSS', (232.665,0.5), layer=42, texttype=10))
gf018_512x8m8wm1_lef_512.add(gdstk.Label('VSS', (431.4,110.19), layer=42, texttype=10))
gf018_512x8m8wm1_lef_512.add(gdstk.Label('VDD', (431.4,216.63), layer=42, texttype=10))
gf018_512x8m8wm1_lef_512.add(gdstk.Label('VDD', (335.59,0.5), layer=42, texttype=10))
gf018_512x8m8wm1_lef_512.add(gdstk.Label('VDD', (414.595,0.5), layer=42, texttype=10))
gf018_512x8m8wm1_lef_512.add(gdstk.Label('VDD', (329.59,0.5), layer=42, texttype=10))
gf018_512x8m8wm1_lef_512.add(gdstk.Label('VDD', (307.29,0.5), layer=42, texttype=10))
gf018_512x8m8wm1_lef_512.add(gdstk.Label('VDD', (425.83,0.5), layer=42, texttype=10))
gf018_512x8m8wm1_lef_512.add(gdstk.Label('VDD', (395.59,0.5), layer=42, texttype=10))
gf018_512x8m8wm1_lef_512.add(gdstk.Label('VDD', (407.59,0.5), layer=42, texttype=10))
gf018_512x8m8wm1_lef_512.add(gdstk.Label('VDD', (226.665,0.5), layer=42, texttype=10))
gf018_512x8m8wm1_lef_512.add(gdstk.Label('VDD', (238.665,0.5), layer=42, texttype=10))
gf018_512x8m8wm1_lef_512.add(gdstk.Label('VDD', (389.59,0.5), layer=42, texttype=10))
gf018_512x8m8wm1_lef_512.add(gdstk.Label('VSS', (431.4,15.815), layer=42, texttype=10))
gf018_512x8m8wm1_lef_512.add(gdstk.Label('VDD', (274.79,0.5), layer=42, texttype=10))
gf018_512x8m8wm1_lef_512.add(gdstk.Label('VSS', (347.59,0.5), layer=42, texttype=10))
gf018_512x8m8wm1_lef_512.add(gdstk.Label('VSS', (323.59,0.5), layer=42, texttype=10))
gf018_512x8m8wm1_lef_512.add(gdstk.Label('VSS', (377.59,0.5), layer=42, texttype=10))
gf018_512x8m8wm1_lef_512.add(gdstk.Label('VDD', (245.33,0.5), layer=42, texttype=10))
gf018_512x8m8wm1_lef_512.add(gdstk.Label('VSS', (264.895,0.5), layer=42, texttype=10))
gf018_512x8m8wm1_lef_512.add(gdstk.Label('VDD', (251.88,0.5), layer=42, texttype=10))
gf018_512x8m8wm1_lef_512.add(gdstk.Label('A[8]', (145.59,0.5), layer=36, texttype=10))
gf018_512x8m8wm1_lef_512.add(gdstk.Label('A[6]', (269.42,0.5), layer=36, texttype=10))
gf018_512x8m8wm1_lef_512.add(gdstk.Label('CLK', (140.24,0.5), layer=36, texttype=10))
gf018_512x8m8wm1_lef_512.add(gdstk.Label('D[0]', (9.88,0.5), layer=36, texttype=10))
gf018_512x8m8wm1_lef_512.add(gdstk.Label('A[7]', (149.085,0.5), layer=36, texttype=10))
gf018_512x8m8wm1_lef_512.add(gdstk.Label('A[2]', (154.855,0.5), layer=36, texttype=10))
gf018_512x8m8wm1_lef_512.add(gdstk.Label('A[1]', (163.32,0.5), layer=36, texttype=10))
gf018_512x8m8wm1_lef_512.add(gdstk.Label('A[0]', (171.775,0.5), layer=36, texttype=10))
gf018_512x8m8wm1_lef_512.add(gdstk.Label('Q[2]', (71.195,0.5), layer=36, texttype=10))
gf018_512x8m8wm1_lef_512.add(gdstk.Label('Q[3]', (111.955,0.5), layer=36, texttype=10))
gf018_512x8m8wm1_lef_512.add(gdstk.Label('CEN', (252.27,0.5), layer=36, texttype=10))
gf018_512x8m8wm1_lef_512.add(gdstk.Label('A[5]', (272.645,0.5), layer=36, texttype=10))
gf018_512x8m8wm1_lef_512.add(gdstk.Label('A[4]', (276.38,0.5), layer=36, texttype=10))
gf018_512x8m8wm1_lef_512.add(gdstk.Label('WEN[3]', (117.58,0.5), layer=36, texttype=10))
gf018_512x8m8wm1_lef_512.add(gdstk.Label('D[7]', (417.42,0.5), layer=36, texttype=10))
gf018_512x8m8wm1_lef_512.add(gdstk.Label('Q[7]', (409.835,0.5), layer=36, texttype=10))
gf018_512x8m8wm1_lef_512.add(gdstk.Label('D[3]', (119.535,0.5), layer=36, texttype=10))
gf018_512x8m8wm1_lef_512.add(gdstk.Label('D[1]', (61.59,0.5), layer=36, texttype=10))
gf018_512x8m8wm1_lef_512.add(gdstk.Label('D[2]', (67.83,0.5), layer=36, texttype=10))
gf018_512x8m8wm1_lef_512.add(gdstk.Label('A[3]', (281.885,0.5), layer=36, texttype=10))
gf018_512x8m8wm1_lef_512.add(gdstk.Label('Q[1]', (58.225,0.5), layer=36, texttype=10))
gf018_512x8m8wm1_lef_512.add(gdstk.Label('Q[6]', (369.075,0.5), layer=36, texttype=10))
gf018_512x8m8wm1_lef_512.add(gdstk.Label('D[5]', (359.47,0.5), layer=36, texttype=10))
gf018_512x8m8wm1_lef_512.add(gdstk.Label('Q[4]', (315.35,0.5), layer=36, texttype=10))
gf018_512x8m8wm1_lef_512.add(gdstk.Label('WEN[5]', (361.46,0.5), layer=36, texttype=10))
gf018_512x8m8wm1_lef_512.add(gdstk.Label('WEN[2]', (65.83,0.5), layer=36, texttype=10))
gf018_512x8m8wm1_lef_512.add(gdstk.Label('WEN[1]', (63.58,0.5), layer=36, texttype=10))
gf018_512x8m8wm1_lef_512.add(gdstk.Label('WEN[4]', (311.135,0.5), layer=36, texttype=10))
gf018_512x8m8wm1_lef_512.add(gdstk.Label('WEN[7]', (414.035,0.5), layer=36, texttype=10))
gf018_512x8m8wm1_lef_512.add(gdstk.Label('WEN[6]', (363.71,0.5), layer=36, texttype=10))
gf018_512x8m8wm1_lef_512.add(gdstk.Label('D[4]', (307.795,0.5), layer=36, texttype=10))
gf018_512x8m8wm1_lef_512.add(gdstk.Label('D[6]', (365.71,0.5), layer=36, texttype=10))
gf018_512x8m8wm1_lef_512.add(gdstk.Label('Q[5]', (356.105,0.5), layer=36, texttype=10))
gf018_512x8m8wm1_lef_512.add(gdstk.Label('Q[0]', (17.46,0.5), layer=36, texttype=10))
gf018_512x8m8wm1_lef_512.add(gdstk.Label('GWEN', (203.5,0.5), layer=36, texttype=10))
gf018_512x8m8wm1_lef_512.add(gdstk.Label('WEN[0]', (13.255,0.5), layer=36, texttype=10))

lib.write_gds('GF018_512x8M8WM1_lef_512x8m81.gds')
